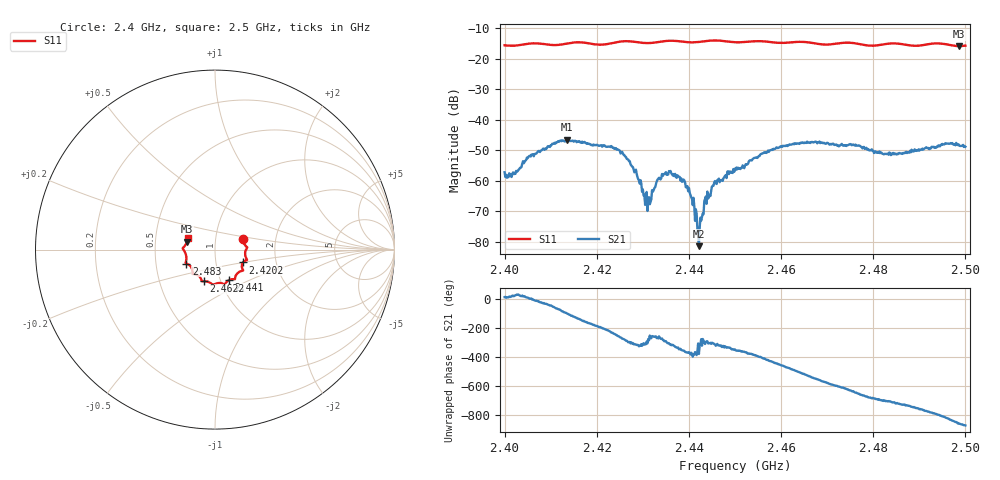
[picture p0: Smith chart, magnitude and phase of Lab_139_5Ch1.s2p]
# Hz S RI R 50
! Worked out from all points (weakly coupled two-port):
!   601 points, 2.4 GHz to 2.5 GHz, reference 50 ohm
!   highest |S21| = -46.51 dB at 2.4135 GHz (marker M1); lowest = -81.4 dB at 2.4422 GHz (marker M2)
!   lowest |S11| = -15.8 dB at 2.4987 GHz (marker M3), VSWR 1.39, Z = 36.4 + j3.29 ohm
!   |S11| at or under -10 dB: start of sweep to end of sweep
!   S12 and S22 are empty: the file has one direction only
!   S11 on the Smith chart (normalised r, x): 2.4 GHz: 1.36, +0.17; 2.4202 GHz: 1.35, -0.20; 2.441 GHz: 1.10, -0.39; 2.4622 GHz: 0.83, -0.30; 2.483 GHz: 0.72, -0.12; 2.5 GHz: 0.73, +0.09
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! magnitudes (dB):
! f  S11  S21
! 2.4 GHz  -15.5  -57.2
! 2.4135 GHz  -15.0  -46.5
! 2.4167 GHz  -14.6  -47.5
! 2.4202 GHz  -15.3  -48.2
! 2.4258 GHz  -14.2  -51.5
! 2.4282 GHz  -14.4  -57.2
! 2.431 GHz  -14.8  -69.9
! 2.4333 GHz  -14.5  -59.4
! 2.4355 GHz  -14.1  -57.9
! 2.4375 GHz  -14.1  -58.1
! 2.4395 GHz  -14.5  -62.1
! 2.441 GHz  -14.6  -65.5
! 2.4422 GHz  -14.4  -81.4
! 2.4438 GHz  -14.1  -67.5
! 2.4453 GHz  -14.0  -61.6
! 2.45 GHz  -14.5  -56.0
! 2.4622 GHz  -14.6  -48.1
! 2.4667 GHz  -14.7  -47.2
! 2.483 GHz  -15.0  -51.2
! 2.4833 GHz  -15.0  -51.4
! 2.4987 GHz  -15.8  -48.5
! 2.5 GHz  -15.6  -48.8
